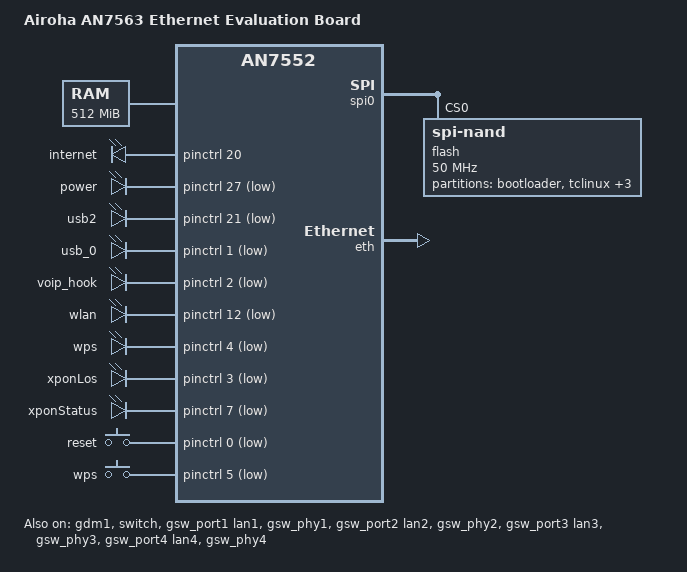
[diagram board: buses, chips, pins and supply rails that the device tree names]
// SPDX-License-Identifier: (GPL-2.0-only OR BSD-2-Clause)
/dts-v1/;

/memreserve/ 0x80000000 0x200000;

#include "an7552.dtsi"

/ {
	model = "Airoha AN7563 Ethernet Evaluation Board";
	compatible = "airoha,an7563-evb", "airoha,an7552";

	memory@80000000 {
		device_type = "memory";
		reg = <0x80000000 0x20000000>;
	};

	leds {
		compatible = "gpio-leds";

		internet {
			label = "internet";
			gpios = <&pinctrl 20 GPIO_ACTIVE_HIGH>;
			linux,default-trigger = "timer";
		};

		power {
			label = "power";
			gpios = <&pinctrl 27 GPIO_ACTIVE_LOW>;
			linux,default-trigger = "timer";
		};

		usb2 {
			label = "usb2";
			gpios = <&pinctrl 21 GPIO_ACTIVE_LOW>;
			linux,default-trigger = "usbport";
		};

		usb_0 {
			label = "usb_0";
			gpios = <&pinctrl 1 GPIO_ACTIVE_LOW>;
			linux,default-trigger = "usbport";
		};

		voip_hook {
			label = "voip_hook";
			gpios = <&pinctrl 2 GPIO_ACTIVE_LOW>;
			linux,default-trigger = "timer";
		};

		wlan {
			label = "wlan";
			gpios = <&pinctrl 12 GPIO_ACTIVE_LOW>;
			linux,default-trigger = "timer";
		};

		wps {
			label = "wps";
			gpios = <&pinctrl 4 GPIO_ACTIVE_LOW>;
			linux,default-trigger = "timer";
		};

		xponLos {
			label = "xponLos";
			gpios = <&pinctrl 3 GPIO_ACTIVE_LOW>;
			linux,default-trigger = "timer";
		};

		xponStatus {
			label = "xponStatus";
			gpios = <&pinctrl 7 GPIO_ACTIVE_LOW>;
			linux,default-trigger = "timer";
		};
	};

	gpio-keys-polled {
		compatible = "gpio-keys-polled";
		poll-interval = <100>;

		reset_ {
			label = "reset";
			gpios = <&pinctrl 0 GPIO_ACTIVE_LOW>;
		};

		wps {
			label = "wps";
			gpios = <&pinctrl 5 GPIO_ACTIVE_LOW>;
		};
	};
};

&spi0 {
	flash@0 {
		reg = <0>;
		compatible = "spi-nand";
		spi-max-frequency = <50000000>;
		spi-tx-bus-width = <1>;
		spi-rx-bus-width = <2>;

		partitions {
			compatible = "fixed-partitions";
			#address-cells = <1>;
			#size-cells = <1>;

			bootloader@0 {
				label = "bootloader";
				reg = <0x00000000 0x00080000>;
				read-only;
			};

			tclinux@80000 {
				label = "tclinux";
				reg = <0x00080000 0x02800000>;
			};

			tclinux_slave@2880000 {
				label = "tclinux_slave";
				reg = <0x02880000 0x02800000>;
			};

			rootfs_data@5080000 {
				label = "rootfs_data";
				reg = <0x05080000 0x00800000>;
			};

			art@de80000 {
				label = "art";
				reg = <0x05880000 0x00380000>;
				read-only;
			};
		};
	};
};

&eth {
	status = "okay";
};

&gdm1 {
	status = "okay";
};

&switch {
	status = "okay";
};

&gsw_port1 {
	label = "lan1";
	status = "okay";
};

&gsw_phy1 {
	status = "okay";
};

&gsw_port2 {
	label = "lan2";
	status = "okay";
};

&gsw_phy2 {
	status = "okay";
};

&gsw_port3 {
	label = "lan3";
	status = "okay";
};

&gsw_phy3 {
	status = "okay";
};

&gsw_port4 {
	label = "lan4";
	status = "okay";
};

&gsw_phy4 {
	status = "okay";
};
